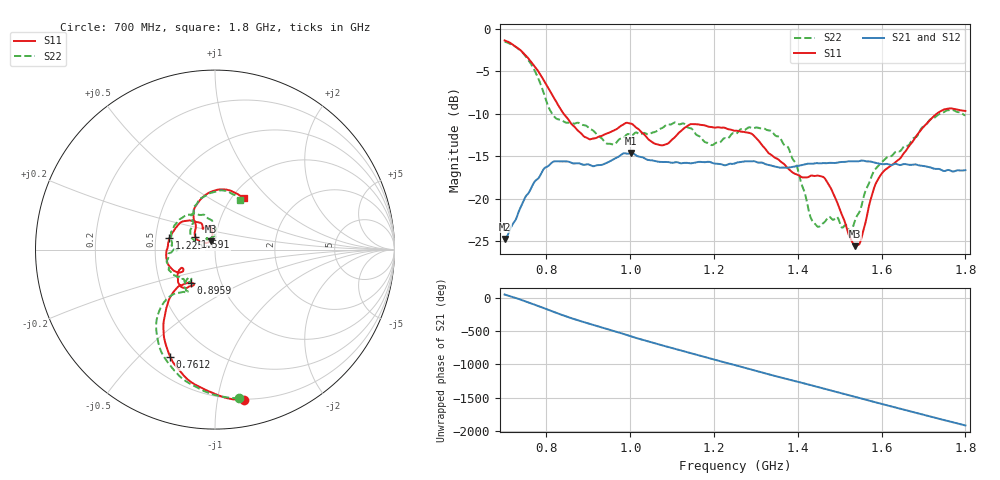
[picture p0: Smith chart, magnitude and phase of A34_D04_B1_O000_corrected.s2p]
! Created with skrf 1.9.0 (http://scikit-rf.org).
# Hz S RI R 50.0
!freq ReS11 ImS11 ReS21 ImS21 ReS12 ImS12 ReS22 ImS22
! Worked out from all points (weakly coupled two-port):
!   1601 points, 700 MHz to 1.8 GHz, reference 50 ohm
!   highest |S21| = -14.61 dB at 1.002 GHz (marker M1); lowest = -24.7 dB at 700.7 MHz (marker M2)
!   lowest |S11| = -25.6 dB at 1.537 GHz (marker M3), VSWR 1.11, Z = 47.5 + j4.5 ohm
!   |S11| at or under -10 dB: 841.2 MHz to 1.731 GHz (890 MHz wide, 69.2 % of centre)
!   |S22| runs from -23.9 to -1.5 dB; largest |S21 - S12| = 0.0033
!   S11 on the Smith chart (normalised r, x): 700 MHz: 0.19, -1.19; 761.2 MHz: 0.30, -0.62; 895.9 MHz: 0.72, -0.28; 1.225 GHz: 0.59, +0.08; 1.591 GHz: 0.80, +0.11; 1.8 GHz: 1.14, +0.73
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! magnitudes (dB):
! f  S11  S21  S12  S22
! 700 MHz  -1.4  -24.7  -24.5  -1.5
! 700.7 MHz  -1.4  -24.7  -24.4  -1.5
! 761.2 MHz  -3.8  -19.0  -18.9  -4.0
! 818.2 MHz  -8.1  -15.6  -15.7  -10.3
! 883.6 MHz  -12.4  -15.9  -15.8  -11.3
! 895.9 MHz  -12.8  -15.9  -16.0  -11.4
! 946.8 MHz  -12.3  -15.7  -15.7  -13.5
! 1.002 GHz  -11.2  -14.6  -14.7  -12.5
! 1.067 GHz  -13.6  -15.6  -15.6  -11.9
! 1.144 GHz  -11.2  -15.8  -15.8  -11.7
! 1.225 GHz  -11.6  -16.0  -16.0  -12.9
! 1.25 GHz  -12.0  -15.8  -15.7  -12.3
! 1.357 GHz  -15.5  -16.3  -16.3  -12.8
! 1.396 GHz  -17.1  -16.2  -16.1  -16.0
! 1.434 GHz  -17.3  -15.9  -15.8  -22.5
! 1.471 GHz  -18.1  -15.8  -15.8  -22.2
! 1.537 GHz  -25.6  -15.6  -15.6  -22.5
! 1.55 GHz  -24.9  -15.5  -15.5  -21.1
! 1.591 GHz  -17.7  -15.8  -15.8  -16.2
! 1.617 GHz  -16.3  -15.9  -15.9  -15.0
! 1.733 GHz  -9.9  -16.5  -16.5  -10.2
! 1.8 GHz  -9.7  -16.6  -16.6  -10.2
